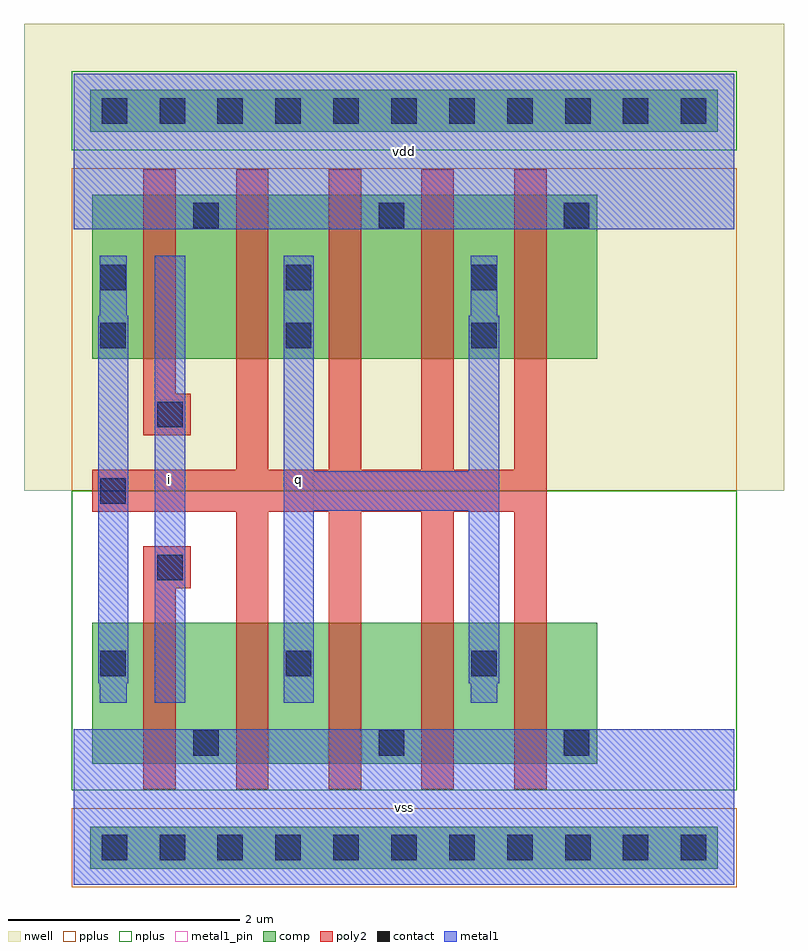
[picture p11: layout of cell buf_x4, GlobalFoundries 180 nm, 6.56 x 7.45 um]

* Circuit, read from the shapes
.subckt buf_x4 i q vdd vss
XM1 vss i n1 vss nfet_03v3 w=1.215u l=0.28u
XM2 q n1 vss vss nfet_03v3 w=1.215u l=0.28u m=4
XM3 vdd i n1 vdd pfet_03v3 w=1.415u l=0.28u
XM4 q n1 vdd vdd pfet_03v3 w=1.415u l=0.28u m=4
.ends

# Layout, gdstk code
import gdstk
lib = gdstk.Library(unit=1e-6, precision=1e-09)
def R(c, l, rs):  # rectangles x0, y0, x1, y1
    for r in rs: c.add(gdstk.rectangle(r[:2], r[2:], *l))
def A(c, l, x, y, w, h, nx, ny, dx, dy):  # array of equal rectangles
    R(c, l, [(x+i*dx, y+j*dy, x+i*dx+w, y+j*dy+h) for i in range(nx) for j in range(ny)])
def P(c, l, *ps):  # polygons
    for p in ps: c.add(gdstk.Polygon(p, *l))
nwell = (21, 0)
comp = (22, 0)
poly2 = (30, 0)
pplus = (31, 0)
nplus = (32, 0)
contact = (33, 0)
metal1 = (34, 0)
metal1_pin = (34, 10)

buf_x4 = lib.new_cell('buf_x4')
R(buf_x4, nwell, [(-0.43,3.4,6.13,7.43)])
R(buf_x4, comp, [(0.14,0.14,5.56,0.5), (0.16,1.045,4.52,2.26), (0.16,4.54,4.52,5.955), (0.14,6.5,5.56,6.86)])
P(buf_x4, poly2, [(1.4,0.825),(1.4,3.22),(0.16,3.22),(0.16,3.58),(1.4,3.58),(1.4,6.175),(1.68,6.175),(1.68,3.58),(2.2,3.58),(2.2,6.175),(2.48,6.175),(2.48,3.58),(3,3.58),(3,6.175),(3.28,6.175),(3.28,3.58),(3.8,3.58),(3.8,6.175),(4.08,6.175),(4.08,0.825),(3.8,0.825),(3.8,3.22),(3.28,3.22),(3.28,0.825),(3,0.825),(3,3.22),(2.48,3.22),(2.48,0.825),(2.2,0.825),(2.2,3.22),(1.68,3.22),(1.68,0.825)],
  [(0.6,3.88),(0.6,6.175),(0.88,6.175),(0.88,4.24),(1.01,4.24),(1.01,3.88)],
  [(0.6,0.825),(0.6,2.92),(1.01,2.92),(1.01,2.56),(0.88,2.56),(0.88,0.825)])
R(buf_x4, pplus, [(-0.02,-0.02,5.72,0.66), (-0.02,3.4,5.72,6.185)])
R(buf_x4, nplus, [(-0.02,0.815,5.72,3.4), (-0.02,6.34,5.72,7.02)])
A(buf_x4, contact, 0.24, 0.21, 0.22, 0.22, 11, 2, 0.5, 6.36)
A(buf_x4, contact, 1.03, 1.115, 0.22, 0.22, 3, 2, 1.6, 4.55)
A(buf_x4, contact, 0.23, 1.8, 0.22, 0.22, 3, 2, 1.6, 2.83)
A(buf_x4, contact, 0.23, 5.13, 0.22, 0.22, 3, 1, 1.6, 0)
R(buf_x4, contact, [(0.72,2.63,0.94,2.85), (0.23,3.29,0.45,3.51), (0.72,3.95,0.94,4.17)])
R(buf_x4, metal1, [(0,0,5.7,1.34), (0.7,1.57,0.96,5.43), (0,5.66,5.7,7)])
P(buf_x4, metal1, [(0.225,1.57),(0.225,1.74),(0.21,1.74),(0.21,4.91),(0.225,4.91),(0.225,5.43),(0.455,5.43),(0.455,4.91),(0.47,4.91),(0.47,1.74),(0.455,1.74),(0.455,1.57)],
  [(1.81,1.57),(1.81,5.43),(2.07,5.43),(2.07,3.57),(3.41,3.57),(3.41,4.91),(3.425,4.91),(3.425,5.43),(3.655,5.43),(3.655,4.91),(3.67,4.91),(3.67,1.74),(3.655,1.74),(3.655,1.57),(3.425,1.57),(3.425,1.74),(3.41,1.74),(3.41,3.23),(2.07,3.23),(2.07,1.57)])
R(buf_x4, metal1_pin, [(0,0,5.7,1.34), (0.7,1.57,0.96,5.43), (1.81,1.57,2.07,5.43), (0,5.66,5.7,7)])
buf_x4.add(gdstk.Label('vdd', (2.85,6.33), layer=34, texttype=10))
buf_x4.add(gdstk.Label('vss', (2.85,0.67), layer=34, texttype=10))
buf_x4.add(gdstk.Label('i', (0.83,3.5), layer=34, texttype=10))
buf_x4.add(gdstk.Label('q', (1.94,3.5), layer=34, texttype=10))

lib.write_gds('buf_x4.gds')
